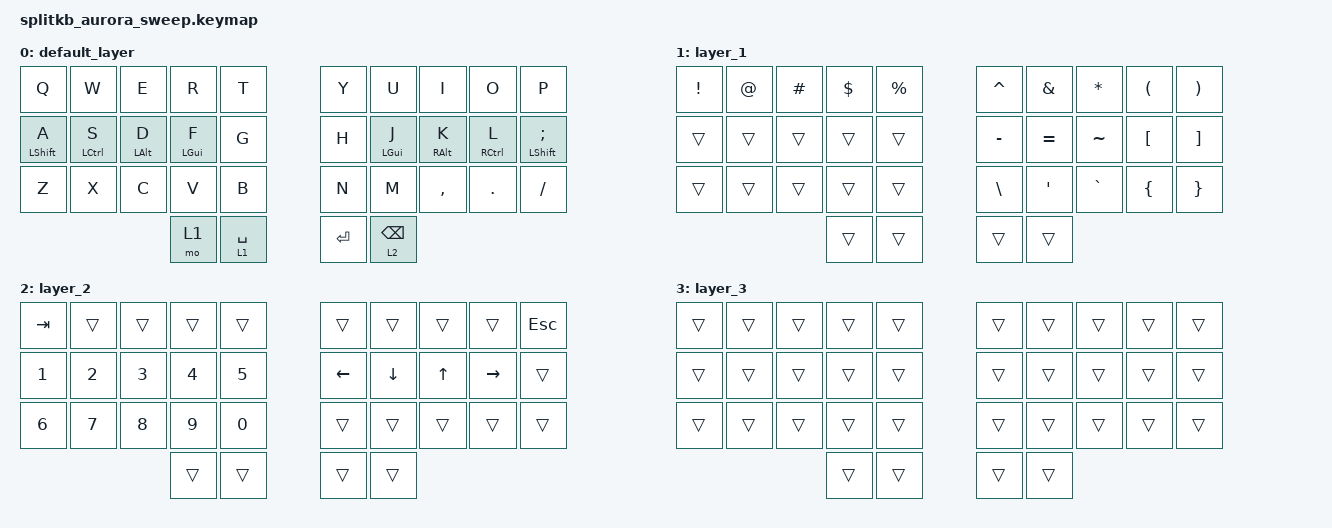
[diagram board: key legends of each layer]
/*
 * Copyright (c) 2020 The ZMK Contributors
 *
 * SPDX-License-Identifier: MIT
 */

#include <dt-bindings/zmk/mouse.h>
#include <behaviors.dtsi>
#include <dt-bindings/zmk/keys.h>

&mt {
    flavor = "tap-preferred";
    quick-tap-ms = <135>;
    tapping-term-ms = <150>;
};

/ {
    keymap {
        compatible = "zmk,keymap";

        default_layer {
            // -----------------------------------------------------------------------------------------
            // |  TAB |  Q  |  W  |  E  |  R  |  T  |   |  Y  |  U   |  I  |  O  |  P  | BKSP |
            // | SHFT |  A  |  S  |  D  |  F  |  G  |   |  H  |  J   |  K  |  L  |  ;  |  '   |
            // | CTRL |  Z  |  X  |  C  |  V  |  B  |   |  N  |  M   |  ,  |  .  |  /  | ESC  |
            //                    | GUI | LWR | SPC |   | ENT | RSE  | ALT |

            bindings = <
&kp Q             &kp W        &kp E           &kp R           &kp T    &kp Y  &kp U           &kp I            &kp O        &kp P
&mt LEFT_SHIFT A  &mt LCTRL S  &mt LEFT_ALT D  &mt LEFT_GUI F  &kp G    &kp H  &mt LEFT_GUI J  &mt RIGHT_ALT K  &mt RCTRL L  &mt LEFT_SHIFT SEMICOLON
&kp Z             &kp X        &kp C           &kp V           &kp B    &kp N  &kp M           &kp COMMA        &kp PERIOD   &kp SLASH
&mo 1             &lt 1 SPACE                                                                                   &kp RET      &lt 2 BACKSPACE
            >;
        };

        layer_1 {
            bindings = <
&kp EXCLAMATION  &kp AT_SIGN  &kp HASH  &kp DOLLAR  &kp PERCENT    &kp CARET      &kp AMPERSAND  &kp ASTERISK  &kp LEFT_PARENTHESIS  &kp RIGHT_PARENTHESIS
&trans           &trans       &trans    &trans      &trans         &kp MINUS      &kp EQUAL      &kp TILDE     &kp LEFT_BRACKET      &kp RIGHT_BRACKET
&trans           &trans       &trans    &trans      &trans         &kp BACKSLASH  &kp SQT        &kp GRAVE     &kp LEFT_BRACE        &kp RIGHT_BRACE
&trans           &trans                                                                                        &trans                &trans
            >;
        };

        layer_2 {
            bindings = <
&kp TAB  &trans  &trans  &trans  &trans    &trans          &trans          &trans        &trans           &kp ESCAPE
&kp N1   &kp N2  &kp N3  &kp N4  &kp N5    &kp LEFT_ARROW  &kp DOWN_ARROW  &kp UP_ARROW  &kp RIGHT_ARROW  &trans
&kp N6   &kp N7  &kp N8  &kp N9  &kp N0    &trans          &trans          &trans        &trans           &trans
&trans   &trans                                                                          &trans           &trans
            >;
        };

        layer_3 {
            bindings = <
&trans  &trans  &trans  &trans  &trans    &trans  &trans  &trans  &trans  &trans
&trans  &trans  &trans  &trans  &trans    &trans  &trans  &trans  &trans  &trans
&trans  &trans  &trans  &trans  &trans    &trans  &trans  &trans  &trans  &trans
&trans  &trans                                                    &trans  &trans
            >;
        };
    };

    conditional_layers {
        compatible = "zmk,conditional-layers";

        Tri {
            if-layers = <1 2>;
            then-layer = <3>;
        };
    };
};
